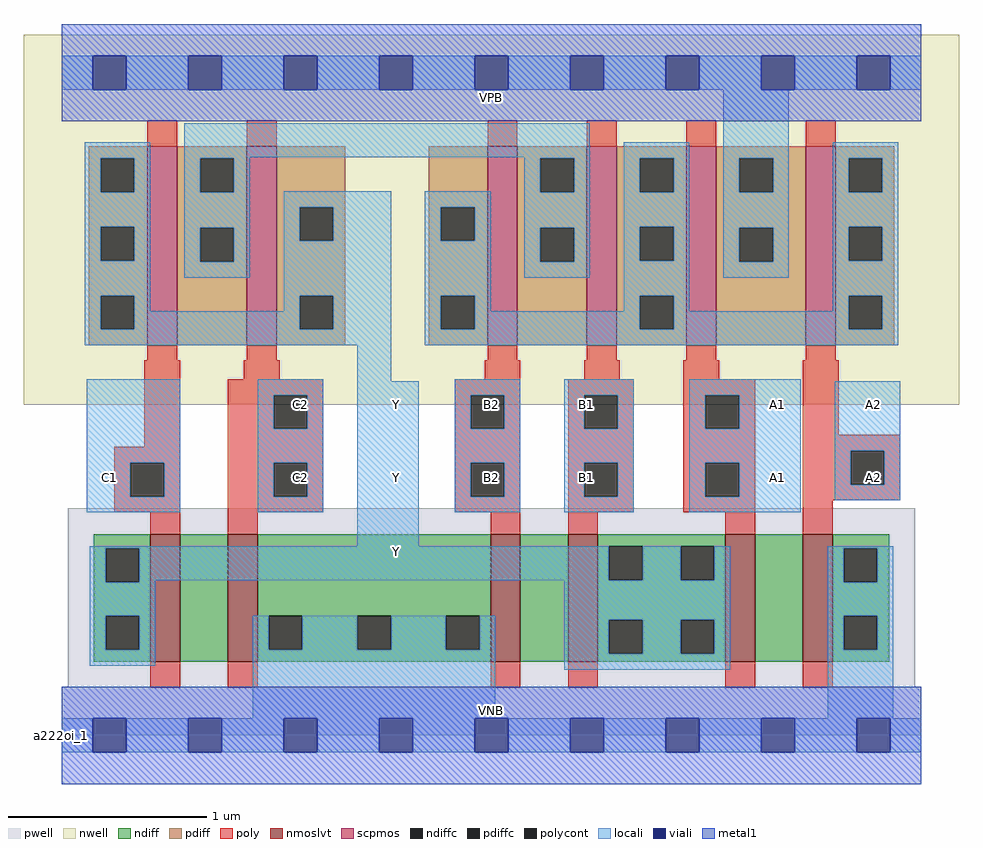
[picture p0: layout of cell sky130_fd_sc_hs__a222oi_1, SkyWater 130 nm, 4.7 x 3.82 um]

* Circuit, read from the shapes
.subckt sky130_fd_sc_hs__a222oi_1 A1 A2 B1 B2 C1 C2 VGND VNB VPB VPWR Y
XM1 n1 C1 Y VNB sky130_fd_pr__nfet_01v8_lvt w=0.64 l=0.15
XM2 VGND C2 n1 VNB sky130_fd_pr__nfet_01v8_lvt w=0.64 l=0.15
XM3 n2 B2 VGND VNB sky130_fd_pr__nfet_01v8_lvt w=0.64 l=0.15
XM4 Y B1 n2 VNB sky130_fd_pr__nfet_01v8_lvt w=0.64 l=0.15
XM5 n3 A1 Y VNB sky130_fd_pr__nfet_01v8_lvt w=0.64 l=0.15
XM6 VGND A2 n3 VNB sky130_fd_pr__nfet_01v8_lvt w=0.64 l=0.15
XM7 n4 C1 Y VPB sky130_fd_pr__pfet_01v8 w=1 l=0.15
XM8 Y C2 n4 VPB sky130_fd_pr__pfet_01v8 w=1 l=0.15
XM9 n4 B2 n5 VPB sky130_fd_pr__pfet_01v8 w=1 l=0.15
XM10 n5 B1 n4 VPB sky130_fd_pr__pfet_01v8 w=1 l=0.15
XM11 VPWR A1 n5 VPB sky130_fd_pr__pfet_01v8 w=1 l=0.15
XM12 n5 A2 VPWR VPB sky130_fd_pr__pfet_01v8 w=1 l=0.15
.ends

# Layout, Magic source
magic
tech sky130A
magscale 1 2
<< nwell >>
rect -38 332 902 704
<< pwell >>
rect 6 49 858 228
rect 0 0 864 49
<< scpmos >>
rect 86 392 116 592
rect 186 392 216 592
rect 428 392 458 592
rect 528 392 558 592
rect 628 392 658 592
rect 748 392 778 592
<< nmoslvt >>
rect 89 74 119 202
rect 167 74 197 202
rect 431 74 461 202
rect 509 74 539 202
rect 667 74 697 202
rect 745 74 775 202
<< ndiff >>
rect 32 188 89 202
rect 32 154 44 188
rect 78 154 89 188
rect 32 120 89 154
rect 32 86 44 120
rect 78 86 89 120
rect 32 74 89 86
rect 119 74 167 202
rect 197 120 431 202
rect 197 86 208 120
rect 242 86 297 120
rect 331 86 386 120
rect 420 86 431 120
rect 197 74 431 86
rect 461 74 509 202
rect 539 190 667 202
rect 539 156 550 190
rect 584 156 622 190
rect 656 156 667 190
rect 539 116 667 156
rect 539 82 550 116
rect 584 82 622 116
rect 656 82 667 116
rect 539 74 667 82
rect 697 74 745 202
rect 775 188 832 202
rect 775 154 786 188
rect 820 154 832 188
rect 775 120 832 154
rect 775 86 786 120
rect 820 86 832 120
rect 775 74 832 86
<< pdiff >>
rect 27 580 86 592
rect 27 546 39 580
rect 73 546 86 580
rect 27 511 86 546
rect 27 477 39 511
rect 73 477 86 511
rect 27 442 86 477
rect 27 408 39 442
rect 73 408 86 442
rect 27 392 86 408
rect 116 580 186 592
rect 116 546 139 580
rect 173 546 186 580
rect 116 510 186 546
rect 116 476 139 510
rect 173 476 186 510
rect 116 392 186 476
rect 216 531 285 592
rect 216 497 239 531
rect 273 497 285 531
rect 216 442 285 497
rect 216 408 239 442
rect 273 408 285 442
rect 216 392 285 408
rect 369 531 428 592
rect 369 497 381 531
rect 415 497 428 531
rect 369 442 428 497
rect 369 408 381 442
rect 415 408 428 442
rect 369 392 428 408
rect 458 580 528 592
rect 458 546 481 580
rect 515 546 528 580
rect 458 510 528 546
rect 458 476 481 510
rect 515 476 528 510
rect 458 392 528 476
rect 558 580 628 592
rect 558 546 581 580
rect 615 546 628 580
rect 558 511 628 546
rect 558 477 581 511
rect 615 477 628 511
rect 558 442 628 477
rect 558 408 581 442
rect 615 408 628 442
rect 558 392 628 408
rect 658 580 748 592
rect 658 546 681 580
rect 715 546 748 580
rect 658 510 748 546
rect 658 476 681 510
rect 715 476 748 510
rect 658 392 748 476
rect 778 580 837 592
rect 778 546 791 580
rect 825 546 837 580
rect 778 511 837 546
rect 778 477 791 511
rect 825 477 837 511
rect 778 442 837 477
rect 778 408 791 442
rect 825 408 837 442
rect 778 392 837 408
<< ndiffc >>
rect 44 154 78 188
rect 44 86 78 120
rect 208 86 242 120
rect 297 86 331 120
rect 386 86 420 120
rect 550 156 584 190
rect 622 156 656 190
rect 550 82 584 116
rect 622 82 656 116
rect 786 154 820 188
rect 786 86 820 120
<< pdiffc >>
rect 39 546 73 580
rect 39 477 73 511
rect 39 408 73 442
rect 139 546 173 580
rect 139 476 173 510
rect 239 497 273 531
rect 239 408 273 442
rect 381 497 415 531
rect 381 408 415 442
rect 481 546 515 580
rect 481 476 515 510
rect 581 546 615 580
rect 581 477 615 511
rect 581 408 615 442
rect 681 546 715 580
rect 681 476 715 510
rect 791 546 825 580
rect 791 477 825 511
rect 791 408 825 442
<< poly >>
rect 86 592 116 618
rect 186 592 216 618
rect 428 592 458 618
rect 528 592 558 618
rect 628 592 658 618
rect 748 592 778 618
rect 86 377 116 392
rect 186 377 216 392
rect 428 377 458 392
rect 528 377 558 392
rect 628 377 658 392
rect 748 377 778 392
rect 83 290 119 377
rect 183 358 219 377
rect 425 358 461 377
rect 525 358 561 377
rect 625 358 661 377
rect 53 274 119 290
rect 53 240 69 274
rect 103 240 119 274
rect 53 224 119 240
rect 89 202 119 224
rect 167 342 263 358
rect 167 308 213 342
rect 247 308 263 342
rect 167 274 263 308
rect 167 240 213 274
rect 247 240 263 274
rect 167 224 263 240
rect 395 342 461 358
rect 395 308 411 342
rect 445 308 461 342
rect 395 274 461 308
rect 395 240 411 274
rect 445 240 461 274
rect 395 224 461 240
rect 167 202 197 224
rect 431 202 461 224
rect 509 342 575 358
rect 509 308 525 342
rect 559 308 575 342
rect 509 274 575 308
rect 509 240 525 274
rect 559 240 575 274
rect 509 224 575 240
rect 625 342 697 358
rect 625 308 647 342
rect 681 308 697 342
rect 625 274 697 308
rect 625 240 647 274
rect 681 240 697 274
rect 625 224 697 240
rect 509 202 539 224
rect 667 202 697 224
rect 745 302 781 377
rect 745 286 843 302
rect 745 252 793 286
rect 827 252 843 286
rect 745 236 843 252
rect 745 202 775 236
rect 89 48 119 74
rect 167 48 197 74
rect 431 48 461 74
rect 509 48 539 74
rect 667 48 697 74
rect 745 48 775 74
<< polycont >>
rect 69 240 103 274
rect 213 308 247 342
rect 213 240 247 274
rect 411 308 445 342
rect 411 240 445 274
rect 525 308 559 342
rect 525 240 559 274
rect 647 308 681 342
rect 647 240 681 274
rect 793 252 827 286
<< locali >>
rect 0 649 31 683
rect 65 649 127 683
rect 161 649 223 683
rect 257 649 319 683
rect 353 649 415 683
rect 449 649 511 683
rect 545 649 607 683
rect 641 649 703 683
rect 737 649 799 683
rect 833 649 864 683
rect 23 580 89 596
rect 23 546 39 580
rect 73 546 89 580
rect 23 511 89 546
rect 23 477 39 511
rect 73 477 89 511
rect 23 442 89 477
rect 123 581 531 615
rect 123 580 189 581
rect 123 546 139 580
rect 173 546 189 580
rect 465 580 531 581
rect 123 510 189 546
rect 123 476 139 510
rect 173 476 189 510
rect 123 460 189 476
rect 223 531 331 547
rect 223 497 239 531
rect 273 497 331 531
rect 23 408 39 442
rect 73 426 89 442
rect 223 442 331 497
rect 223 426 239 442
rect 73 408 239 426
rect 273 408 331 442
rect 23 392 331 408
rect 365 531 431 547
rect 365 497 381 531
rect 415 497 431 531
rect 365 442 431 497
rect 465 546 481 580
rect 515 546 531 580
rect 465 510 531 546
rect 465 476 481 510
rect 515 476 531 510
rect 465 460 531 476
rect 565 580 631 596
rect 565 546 581 580
rect 615 546 631 580
rect 565 511 631 546
rect 565 477 581 511
rect 615 477 631 511
rect 365 408 381 442
rect 415 426 431 442
rect 565 442 631 477
rect 665 580 731 649
rect 665 546 681 580
rect 715 546 731 580
rect 665 510 731 546
rect 665 476 681 510
rect 715 476 731 510
rect 665 460 731 476
rect 775 580 841 596
rect 775 546 791 580
rect 825 546 841 580
rect 775 511 841 546
rect 775 477 791 511
rect 825 477 841 511
rect 565 426 581 442
rect 415 408 581 426
rect 615 426 631 442
rect 775 442 841 477
rect 775 426 791 442
rect 615 408 791 426
rect 825 408 841 442
rect 365 392 841 408
rect 25 274 119 358
rect 25 240 69 274
rect 103 240 119 274
rect 25 224 119 240
rect 197 342 263 358
rect 197 308 213 342
rect 247 308 263 342
rect 197 274 263 308
rect 197 240 213 274
rect 247 240 263 274
rect 197 224 263 240
rect 297 356 331 392
rect 297 190 359 356
rect 395 342 461 358
rect 395 308 411 342
rect 445 308 461 342
rect 395 274 461 308
rect 395 240 411 274
rect 445 240 461 274
rect 395 224 461 240
rect 505 342 575 358
rect 505 308 525 342
rect 559 308 575 342
rect 505 274 575 308
rect 505 240 525 274
rect 559 240 575 274
rect 505 224 575 240
rect 631 342 743 358
rect 631 308 647 342
rect 681 308 743 342
rect 631 274 743 308
rect 631 240 647 274
rect 681 240 743 274
rect 631 224 743 240
rect 777 286 843 356
rect 777 252 793 286
rect 827 252 843 286
rect 777 236 843 252
rect 28 188 550 190
rect 28 154 44 188
rect 78 156 550 188
rect 584 156 622 190
rect 656 156 672 190
rect 78 154 94 156
rect 28 120 94 154
rect 28 86 44 120
rect 78 86 94 120
rect 28 70 94 86
rect 192 86 208 120
rect 242 86 297 120
rect 331 86 386 120
rect 420 86 436 120
rect 192 17 436 86
rect 505 116 672 156
rect 505 82 550 116
rect 584 82 622 116
rect 656 82 672 116
rect 505 66 672 82
rect 770 188 836 190
rect 770 154 786 188
rect 820 154 836 188
rect 770 120 836 154
rect 770 86 786 120
rect 820 86 836 120
rect 770 17 836 86
rect 0 -17 31 17
rect 65 -17 127 17
rect 161 -17 223 17
rect 257 -17 319 17
rect 353 -17 415 17
rect 449 -17 511 17
rect 545 -17 607 17
rect 641 -17 703 17
rect 737 -17 799 17
rect 833 -17 864 17
<< viali >>
rect 31 649 65 683
rect 127 649 161 683
rect 223 649 257 683
rect 319 649 353 683
rect 415 649 449 683
rect 511 649 545 683
rect 607 649 641 683
rect 703 649 737 683
rect 799 649 833 683
rect 31 -17 65 17
rect 127 -17 161 17
rect 223 -17 257 17
rect 319 -17 353 17
rect 415 -17 449 17
rect 511 -17 545 17
rect 607 -17 641 17
rect 703 -17 737 17
rect 799 -17 833 17
<< metal1 >>
rect 0 683 864 715
rect 0 649 31 683
rect 65 649 127 683
rect 161 649 223 683
rect 257 649 319 683
rect 353 649 415 683
rect 449 649 511 683
rect 545 649 607 683
rect 641 649 703 683
rect 737 649 799 683
rect 833 649 864 683
rect 0 617 864 649
rect 0 17 864 49
rect 0 -17 31 17
rect 65 -17 127 17
rect 161 -17 223 17
rect 257 -17 319 17
rect 353 -17 415 17
rect 449 -17 511 17
rect 545 -17 607 17
rect 641 -17 703 17
rect 737 -17 799 17
rect 833 -17 864 17
rect 0 -49 864 -17
<< labels >>
rlabel comment s 0 0 0 0 4 a222oi_1
flabel pwell s 0 0 864 49 0 FreeSans 200 0 0 0 VNB
port 8 nsew ground bidirectional
flabel nwell s 0 617 864 666 0 FreeSans 200 0 0 0 VPB
port 9 nsew power bidirectional
flabel metal1 s 0 617 864 666 0 FreeSans 340 0 0 0 VPWR
port 10 nsew power bidirectional
flabel metal1 s 0 0 864 49 0 FreeSans 340 0 0 0 VGND
port 7 nsew ground bidirectional
flabel locali s 223 242 257 276 0 FreeSans 340 0 0 0 C2
port 6 nsew signal input
flabel locali s 223 316 257 350 0 FreeSans 340 0 0 0 C2
port 6 nsew signal input
flabel locali s 31 242 65 276 0 FreeSans 340 0 0 0 C1
port 5 nsew signal input
flabel locali s 511 242 545 276 0 FreeSans 340 0 0 0 B1
port 3 nsew signal input
flabel locali s 511 316 545 350 0 FreeSans 340 0 0 0 B1
port 3 nsew signal input
flabel locali s 799 242 833 276 0 FreeSans 340 0 0 0 A2
port 2 nsew signal input
flabel locali s 799 316 833 350 0 FreeSans 340 0 0 0 A2
port 2 nsew signal input
flabel locali s 703 242 737 276 0 FreeSans 340 0 0 0 A1
port 1 nsew signal input
flabel locali s 703 316 737 350 0 FreeSans 340 0 0 0 A1
port 1 nsew signal input
flabel locali s 319 168 353 202 0 FreeSans 340 0 0 0 Y
port 11 nsew signal output
flabel locali s 319 242 353 276 0 FreeSans 340 0 0 0 Y
port 11 nsew signal output
flabel locali s 319 316 353 350 0 FreeSans 340 0 0 0 Y
port 11 nsew signal output
flabel locali s 415 242 449 276 0 FreeSans 340 0 0 0 B2
port 4 nsew signal input
flabel locali s 415 316 449 350 0 FreeSans 340 0 0 0 B2
port 4 nsew signal input
<< properties >>
string LEFsite unit
string LEFclass CORE
string FIXED_BBOX 0 0 864 666
string GDS_FILE $PDKPATH/libs.ref/sky130_fd_sc_hs/gds/sky130_fd_sc_hs.gds
string LEFsymmetry X Y
string GDS_END 1975442
string GDS_START 1966608
<< end >>
